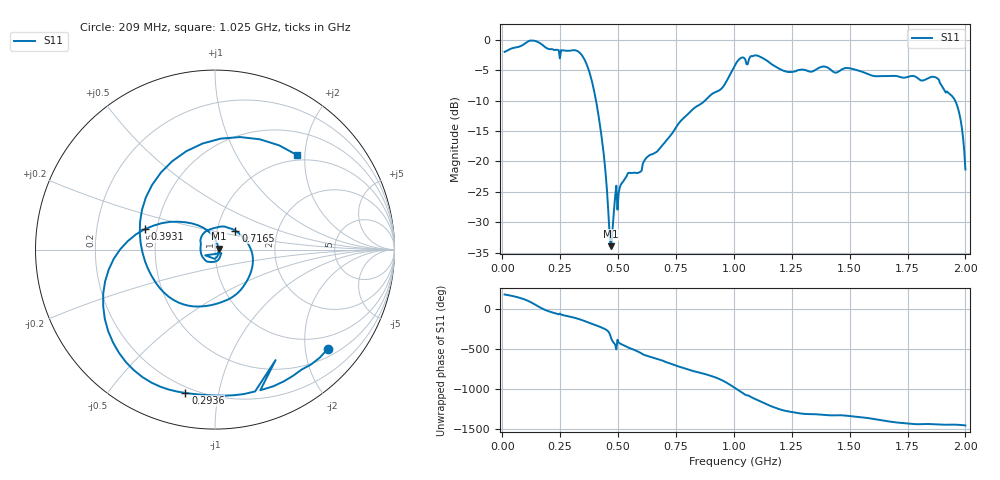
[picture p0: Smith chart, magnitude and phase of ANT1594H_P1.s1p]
!Created with skrf (http://scikit-rf.org).
# Hz S RI R 50.0
!freq ReS11 ImS11
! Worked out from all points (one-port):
!   401 points, 10 MHz to 2 GHz, reference 50 ohm
!   lowest |S11| = -33.9 dB at 467.7 MHz (marker M1), VSWR 1.04, Z = 52 + j0.494 ohm
!   |S11| at or under -10 dB: 404.7 MHz to 875.2 MHz (470.5 MHz wide, 73.5 % of centre); 1.956 GHz to end of sweep
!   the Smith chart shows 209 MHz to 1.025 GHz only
!   S11 on the Smith chart (normalised r, x): 209 MHz: 0.67, -2.48; 293.6 MHz: 0.17, -0.80; 393.1 MHz: 0.43, +0.12; 716.5 MHz: 1.22, +0.26; 1.025 GHz: 0.90, +1.84
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1e7  -0.7943 0.0571
7.4675e7  -0.6237 0.6217
1.1945e8  0.0717 0.9825
1.5925e8  0.8869 0.3355
2.09e8  0.627 -0.5554
2.5875e8  0.1606 -0.8049
2.93575e8  -0.1644 -0.7989
3.483e8  -0.614 -0.3855
3.93075e8  -0.3916 0.1134
4.32875e8  -0.0655 0.1222
4.677e8  0.0195 0.00475
5.075e8  0.0167 -0.059
6.1695e8  -0.0763 0.0705
7.1645e8  0.1134 0.1055
7.5625e8  0.1982 0.00502
9.055e8  -0.2046 -0.2945
9.652e8  -0.4174 0.1545
1.005e9  0.0318 0.6184
1.0249e9  0.4577 0.5264
1.039825e9  0.6657 0.2638
1.07465e9  0.6616 -0.3222
1.11445e9  0.117 -0.715
1.17415e9  -0.5517 -0.2664
1.25375e9  -0.4503 0.3079
1.5025e9  -0.0607 0.5798
1.75125e9  0.4937 0.0367
1.945275e9  0.3348 -0.0576
2e9  0.0804 -0.0301
